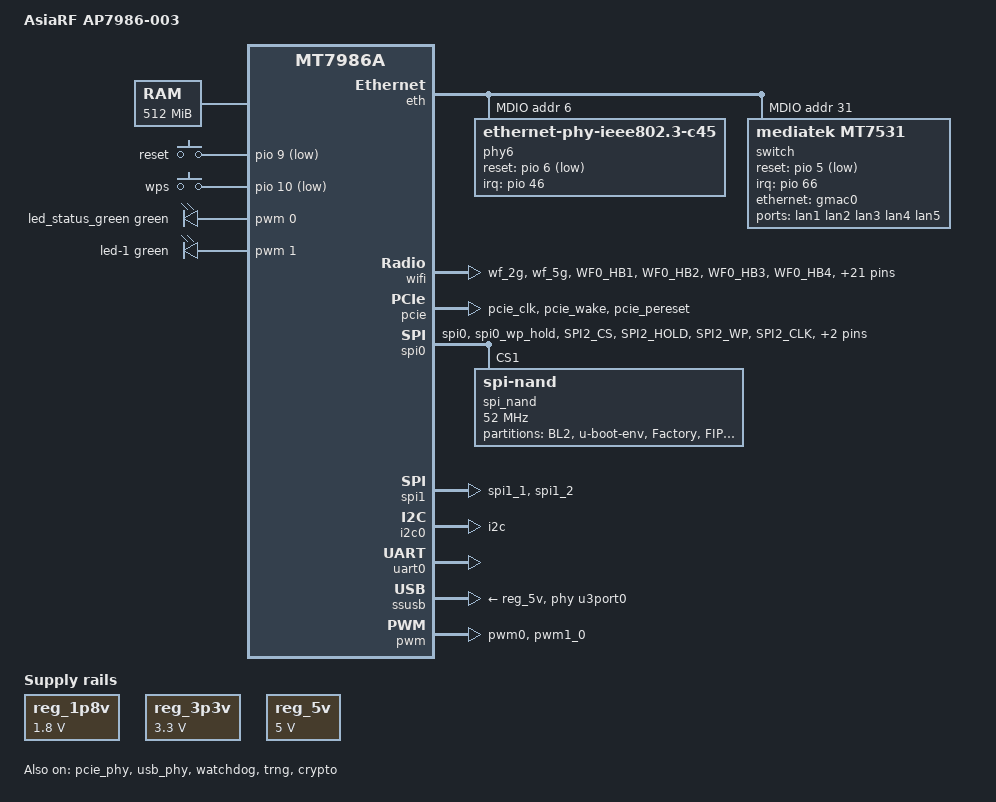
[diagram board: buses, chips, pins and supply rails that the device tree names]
// SPDX-License-Identifier: (GPL-2.0 OR MIT)
/*
 * Copyright (C) 2025 AsiaRF Co., Ltd
 * Author: Elwin Huang <elwin@asiarf.com>
 */

/dts-v1/;
#include <dt-bindings/gpio/gpio.h>
#include <dt-bindings/input/input.h>
#include <dt-bindings/leds/common.h>
#include <dt-bindings/pinctrl/mt65xx.h>
#include "mt7986a.dtsi"

/ {
	model = "AsiaRF AP7986-003";
	compatible = "asiarf,ap7986-003", "mediatek,mt7986a-rfb";

	aliases {
		serial0 = &uart0;
		led-boot = &led_status_green;
		led-failsafe = &led_status_green;
		led-running = &led_status_green;
		led-upgrade = &led_status_green;
	};

	chosen {
		stdout-path = "serial0:115200n8";
	};

	memory@40000000 {
		reg = <0 0x40000000 0 0x20000000>;
		device_type = "memory";
	};

	gpio-keys {
		compatible = "gpio-keys";

		reset {
			label = "reset";
			linux,code = <KEY_RESTART>;
			gpios = <&pio 9 GPIO_ACTIVE_LOW>;
		};

		wps {
			label = "wps";
			linux,code = <KEY_WPS_BUTTON>;
			gpios = <&pio 10 GPIO_ACTIVE_LOW>;
		};
	};

	pwm-leds {
		compatible = "pwm-leds";

		led_status_green: led-0 {
			color = <LED_COLOR_ID_GREEN>;
			function = LED_FUNCTION_STATUS;
			pwms = <&pwm 0 10000>;
			active-low;
		};

		led-1 {
			color = <LED_COLOR_ID_GREEN>;
			function = LED_FUNCTION_DEBUG;
			pwms = <&pwm 1 10000>;
			linux,default-trigger = "pattern";
			led-pattern = <0 1000 255 1000>;
			active-low;
		};
	};

	reg_1p8v: regulator-1p8v {
		compatible = "regulator-fixed";
		regulator-name = "fixed-1.8V";
		regulator-min-microvolt = <1800000>;
		regulator-max-microvolt = <1800000>;
		regulator-boot-on;
		regulator-always-on;
	};

	reg_3p3v: regulator-3p3v {
		compatible = "regulator-fixed";
		regulator-name = "fixed-3.3V";
		regulator-min-microvolt = <3300000>;
		regulator-max-microvolt = <3300000>;
		regulator-boot-on;
		regulator-always-on;
	};

	reg_5v: regulator-5v {
		compatible = "regulator-fixed";
		regulator-name = "fixed-5V";
		regulator-min-microvolt = <5000000>;
		regulator-max-microvolt = <5000000>;
		regulator-boot-on;
		regulator-always-on;
	};
};

&eth {
	status = "okay";

	gmac0: mac@0 {
		compatible = "mediatek,eth-mac";
		reg = <0>;
		phy-mode = "2500base-x";
		nvmem-cells = <&macaddr_factory_24>;
		nvmem-cell-names = "mac-address";

		fixed-link {
			speed = <2500>;
			full-duplex;
			pause;
		};
	};

	mac@1 {
		compatible = "mediatek,eth-mac";
		reg = <1>;
		phy-handle = <&phy6>;
		phy-mode = "2500base-x";
		nvmem-cells = <&macaddr_factory_2a>;
		nvmem-cell-names = "mac-address";
	};

	mdio-bus {
		#address-cells = <1>;
		#size-cells = <0>;

		phy6: phy@6 {
			compatible = "ethernet-phy-ieee802.3-c45";
			reg = <6>;

			reset-gpios = <&pio 6 GPIO_ACTIVE_LOW>;
			reset-deassert-us = <20000>;
			#interrupt-cells = <1>;
			interrupt-controller;
			interrupt-parent = <&pio>;
			interrupts = <46 IRQ_TYPE_LEVEL_HIGH>;
		};

		switch: switch@1f {
			compatible = "mediatek,mt7531";
			reg = <31>;
			#interrupt-cells = <1>;
			interrupt-controller;
			interrupt-parent = <&pio>;
			interrupts = <66 IRQ_TYPE_LEVEL_HIGH>;
			reset-gpios = <&pio 5 GPIO_ACTIVE_LOW>;

			ports {
				#address-cells = <1>;
				#size-cells = <0>;

				port@0 {
					reg = <0>;
					label = "lan1";
				};

				port@1 {
					reg = <1>;
					label = "lan2";
				};

				port@2 {
					reg = <2>;
					label = "lan3";
				};

				port@3 {
					reg = <3>;
					label = "lan4";
				};

				port@4 {
					reg = <4>;
					label = "lan5";
				};

				port@6 {
					reg = <6>;
					ethernet = <&gmac0>;
					phy-mode = "2500base-x";

					fixed-link {
						speed = <2500>;
						full-duplex;
						pause;
					};
				};
			};
		};
	};
};

&wifi {
	pinctrl-names = "default", "dbdc";
	pinctrl-0 = <&wf_2g_5g_pins>;
	pinctrl-1 = <&wf_dbdc_pins>;
	nvmem-cells = <&eeprom_factory_0>;
	nvmem-cell-names = "eeprom";
	status = "okay";
};

&pcie {
	pinctrl-names = "default";
	pinctrl-0 = <&pcie_pins>;
	status = "okay";
};

&pcie_phy {
	status = "okay";
};

&pio {
	pcie_pins: pcie-pins {
		mux {
			function = "pcie";
			groups = "pcie_clk", "pcie_wake", "pcie_pereset";
		};
	};
	
	pwm_pins: pwm-pins {
		mux {
			function = "pwm";
			groups = "pwm0", "pwm1_0";
		};
	};

	spic1_pins: spi-pins-23-to-26 {
		mux {
			function = "spi";
			groups = "spi1_1";
		};
	};

	spic2_pins: spi-flash-pins-29-to-32 {
		mux {
			function = "spi";
			groups = "spi1_2";
		};
	};

	spi_flash_pins: spi-flash-pins-33-to-38 {
		mux {
			function = "spi";
			groups = "spi0", "spi0_wp_hold";
		};
		conf-pu {
			pins = "SPI2_CS", "SPI2_HOLD", "SPI2_WP";
			drive-strength = <MTK_DRIVE_8mA>;
			bias-disable;	/* bias-disable */
		};
		conf-pd {
			pins = "SPI2_CLK", "SPI2_MOSI", "SPI2_MISO";
			drive-strength = <MTK_DRIVE_8mA>;
			bias-disable;	/* bias-disable */
		};
	};

	wf_2g_5g_pins: wf_2g_5g-pins {
		mux {
			function = "wifi";
			groups = "wf_2g", "wf_5g";
		};
		conf {
			pins = "WF0_HB1", "WF0_HB2", "WF0_HB3", "WF0_HB4",
				   "WF0_HB0", "WF0_HB0_B", "WF0_HB5", "WF0_HB6",
				   "WF0_HB7", "WF0_HB8", "WF0_HB9", "WF0_HB10",
				   "WF0_TOP_CLK", "WF0_TOP_DATA", "WF1_HB1",
				   "WF1_HB2", "WF1_HB3", "WF1_HB4", "WF1_HB0",
				   "WF1_HB5", "WF1_HB6", "WF1_HB7", "WF1_HB8",
				   "WF1_TOP_CLK", "WF1_TOP_DATA";
			drive-strength = <MTK_DRIVE_4mA>;
		};
	};

	wf_dbdc_pins: wf_dbdc-pins {
		mux {
			function = "wifi";
			groups = "wf_dbdc";
		};
		conf {
			pins = "WF0_HB1", "WF0_HB2", "WF0_HB3", "WF0_HB4",
				   "WF0_HB0", "WF0_HB0_B", "WF0_HB5", "WF0_HB6",
				   "WF0_HB7", "WF0_HB8", "WF0_HB9", "WF0_HB10",
				   "WF0_TOP_CLK", "WF0_TOP_DATA", "WF1_HB1",
				   "WF1_HB2", "WF1_HB3", "WF1_HB4", "WF1_HB0",
				   "WF1_HB5", "WF1_HB6", "WF1_HB7", "WF1_HB8",
				   "WF1_TOP_CLK", "WF1_TOP_DATA";
			drive-strength = <MTK_DRIVE_4mA>;
		};
	};

	i2c_pins: i2c-pins {
		mux {
			function = "i2c";
			groups = "i2c";
		};
	};
};

&spi0 {
	pinctrl-names = "default";
	pinctrl-0 = <&spi_flash_pins>;
	#address-cells = <1>;
	#size-cells = <0>;
	status = "okay";

	spi_nand@1 {
		#address-cells = <1>;
		#size-cells = <1>;
		compatible = "spi-nand";
		reg = <1>;
		spi-max-frequency = <52000000>;
		spi-tx-bus-width = <4>;
		spi-rx-bus-width = <4>;

		mediatek,nmbm;
		mediatek,bmt-max-ratio = <1>;
		mediatek,bmt-max-reserved-blocks = <64>;

		partitions {
			compatible = "fixed-partitions";
			#address-cells = <1>;
			#size-cells = <1>;

			partition@0 {
				label = "BL2";
				reg = <0x00000 0x0100000>;
				read-only;
			};

			partition@100000 {
				label = "u-boot-env";
				reg = <0x0100000 0x0080000>;
			};

			partition@180000 {
				label = "Factory";
				reg = <0x0180000 0x0200000>;
				read-only;

				nvmem-layout {
					compatible = "fixed-layout";
					#address-cells = <1>;
					#size-cells = <1>;

					eeprom_factory_0: eeprom@0 {
						reg = <0x0 0x1000>;
					};

					macaddr_factory_24: macaddr@24 {
						reg = <0x24 0x6>;
					};

					macaddr_factory_2a: macaddr@2a {
						reg = <0x2a 0x6>;
					};
				};
			};

			partition@380000 {
				label = "FIP";
				reg = <0x0380000 0x0200000>;
			};

			partition@580000 {
				label = "ubi";
				reg = <0x0580000 0x4000000>; // 64MB
			};

			partition@4580000 {
				label = "User_data";
				reg = <0x4580000 0x3280000>;
			};
		};
	};
};

&spi1 {
	pinctrl-names = "default";
	pinctrl-0 = <&spic1_pins &spic2_pins>;
	cs-gpios = <&pio 26 GPIO_ACTIVE_LOW>, <&pio 32 GPIO_ACTIVE_LOW>;
	#address-cells = <1>;
	#size-cells = <0>;
	status = "okay";
};

&i2c0 {
	pinctrl-names = "default";
	pinctrl-0 = <&i2c_pins>;
	status = "okay";
};

&uart0 {
	status = "okay";
};

&ssusb {
	phys = <&u3port0 PHY_TYPE_USB3>,
		<&u2port1 PHY_TYPE_USB2>;
	vusb33-supply = <&reg_3p3v>;
	vbus-supply = <&reg_5v>;
	status = "okay";
};

&usb_phy {
	status = "okay";
};

&watchdog {
	status = "okay";
};

&trng {
	status = "okay";
};

&crypto {
	status = "okay";
};

&pwm {
	pinctrl-names = "default";
	pinctrl-0 = <&pwm_pins>;
	status = "okay";
};
